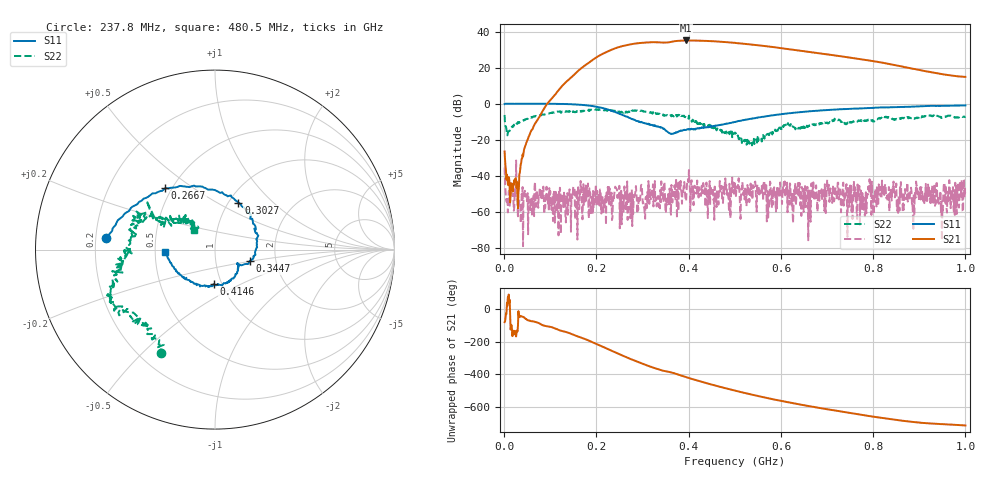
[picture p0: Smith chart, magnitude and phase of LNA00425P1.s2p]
! Created with skrf 1.9.0 (http://scikit-rf.org).
# Hz S RI R 50.0
!freq ReS11 ImS11 ReS21 ImS21 ReS12 ImS12 ReS22 ImS22
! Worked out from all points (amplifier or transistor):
!   1001 points, 1 MHz to 1 GHz, reference 50 ohm
!   highest |S21| = 35.0 dB at 394.6 MHz (marker M1)
!   |S21| within 3 dB of that: 259 MHz to 561.2 MHz (302.2 MHz wide, 73.7 % of centre) (the widest 1 of 2)
!   unconditionally stable (mu >= 1): start of sweep to 76.72 MHz; 296.8 MHz to 400 MHz; 401.1 MHz to end of sweep (the widest 3 of 32)
!   at 166.8 MHz: K = 1.18, MAG = 30.3 dB, |S12| = -46.2 dB
!   at 500.5 MHz: K = 2.76, MAG = 34.3 dB, |S12| = -49.5 dB
!   at 1 GHz: K = 4.33, MAG = 22.8 dB, |S12| = -49.3 dB
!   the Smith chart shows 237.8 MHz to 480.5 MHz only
!   S11 on the Smith chart (normalised r, x): 237.8 MHz: 0.24, +0.05; 266.7 MHz: 0.46, +0.39; 302.7 MHz: 1.11, +0.63; 344.7 MHz: 1.46, -0.20; 414.6 MHz: 0.91, -0.37; 480.5 MHz: 0.56, -0.02
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1000000  0.9797 0.00504  0.00771 -0.0469  -0.0145 0.00885  0.36 0.3304
1.08892e8  0.5279 -0.8431  -0.791 -1.506  -0.00368 0.00205  0.4278 -0.3742
1.67833e8  -0.2186 -0.9038  -9.771 -0.6348  -0.00274 0.00198  0.0507 -0.6368
2.08792e8  -0.6648 -0.4205  -15.75 15.89  -0.00367 0.00167  -0.1909 -0.6672
2.37763e8  -0.6055 0.0625  -4.419 33.03  -0.000388 -0.00205  -0.2997 -0.5756
2.66734e8  -0.2772 0.3418  20.32 37.19  -0.00395 0.00584  -0.4198 -0.3848
2.84716e8  -0.0517 0.3424  35.2 30.38  -0.00337 -0.00131  -0.5629 -0.2915
3.02698e8  0.1306 0.2614  45.64 17.31  0.0013 0.00058  -0.5746 -0.205
3.34666e8  0.2304 0.00797  49.29 -9.735  -0.00224 -0.00122  -0.5282 -0.0455
3.44656e8  0.1926 -0.0644  46.33 -16.44  0.000141 0.00188  -0.5051 -0.0165
3.71629e8  0.1279 -0.0893  42.86 -33.18  -0.000151 0.00206  -0.4128 0.1552
3.94606e8  0.0872 -0.1681  29.07 -48.51  -0.000225 0.00201  -0.385 0.1753
4.14586e8  -0.00828 -0.1924  13.43 -54.48  0.00394 -0.00319  -0.3023 0.1378
4.45555e8  -0.16 -0.157  -10.63 -53.25  0.00718 -0.000592  -0.1828 0.1885
4.8052e8  -0.2778 -0.0137  -31.03 -40.64  0.0031 0.00285  -0.1186 0.1112
5.005e8  -0.2961 0.0965  -38.51 -29.85  -0.00317 0.0011  -0.121 0.1034
5.39461e8  -0.2397 0.3104  -42.21 -8.774  0.0053 -0.00169  -0.0815 -0.000574
5.85415e8  -0.0615 0.4791  -35.28 10.52  -0.000651 -0.00479  -0.1731 -0.0567
6.67333e8  0.3233 0.5344  -12.92 23.02  0.0023 -0.00268  -0.2511 -0.0384
7.53247e8  0.6226 0.3724  3.614 18.3  0.000453 0.000942  -0.2951 0.0399
8.34166e8  0.7812 0.1437  9.115 8.798  -0.00489 0.000777  -0.4139 0.0737
1e9  0.8133 -0.3859  5.529 0.3533  0.00231 -0.00254  -0.1993 0.3883
